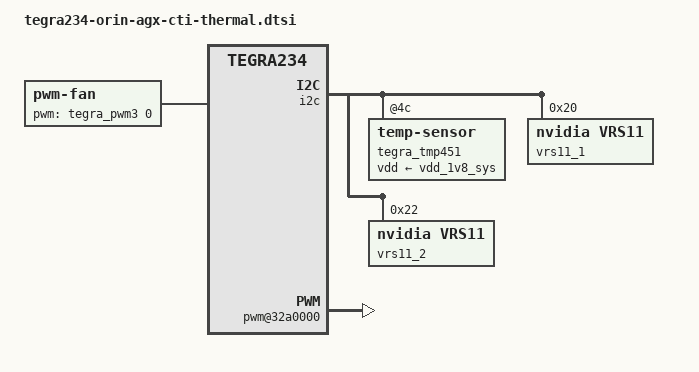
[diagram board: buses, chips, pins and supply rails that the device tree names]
/*
 * Copyright (c) 2022, Connect Tech Inc.  All rights reserved.
 *
 * This program is free software; you can redistribute it and/or modify it
 * under the terms and conditions of the GNU General Public License,
 * version 2, as published by the Free Software Foundation.
 *
 * This program is distributed in the hope it will be useful, but WITHOUT
 * ANY WARRANTY; without even the implied warranty of MERCHANTABILITY or
 * FITNESS FOR A PARTICULAR PURPOSE.  See the GNU General Public License for
 * more details.
 *
 * You should have received a copy of the GNU General Public License
 * along with this program.  If not, see <http://www.gnu.org/licenses/>.
 */


#include <dt-bindings/gpio/tegra234-gpio.h>
#include <dt-bindings/pwm/pwm.h>

#include <t234-common-cvm/tegra234-thermal.dtsi>
#include <t234-common-cvm/tegra234-thermal-cooling.dtsi>
#include <t234-common-cvm/tegra234-thermal-userspace-alert.dtsi>

/ {

    bpmp {
        i2c {
            tegra_tmp451: temp-sensor@4c {
                vdd-supply = <&vdd_1v8_sys>;

                ext {
                    shutdown-limit = <107>;
                };
            };
            vrs11_1@20 {
				compatible = "nvidia,vrs11";
				reg = <0x20>;
				rail-name-loopA = "GPU";
				rail-name-loopB = "CPU";
				status = "okay";
			};

			vrs11_2@22 {
				compatible = "nvidia,vrs11";
				reg = <0x22>;
				rail-name-loopA = "SOC";
				rail-name-loopB = "CV";
				status = "okay";
			};
        };
    };

    //FAN PWM
    pwm@32a0000 {
        status = "okay";
    };

    pwm_fan_shared_data: pfsd {
        num_resources = <0>;
        secret = <47>;
        active_steps = <10>;
        active_rpm = <0 1000 2000 3000 4000 5000 6000 7000 10000 11000>;
        rpm_diff_tolerance = <2>;
        active_rru = <40 2 1 1 1 1 1 1 1 1>;
        active_rrd = <40 2 1 1 1 1 1 1 1 1>;
        state_cap_lookup = <2 2 2 2 3 3 3 4 4 4>;
        pwm_period = <45334>;
        pwm_id = <3>;
        pwm_polarity = <PWM_POLARITY_INVERTED>;
        suspend_state = <1>;
        step_time = <100>; /* mesecs */
        state_cap = <7>;
        active_pwm_max = <256>;
        tach_period = <1000>;
        pwm_gpio = <&tegra_main_gpio TEGRA234_MAIN_GPIO(Q, 2) GPIO_ACTIVE_LOW>;
    };

    pwm-fan {
        compatible = "pwm-fan";
        status = "okay";
        #pwm-cells = <1>;
        pwms = <&tegra_pwm3 0 45334>;
        shared_data = <&pwm_fan_shared_data>;
        profiles {
            default = "quiet";
            quiet {
                state_cap = <4>;
#if TEGRA_PWM_FAN_DT_VERSION == DT_VERSION_2
                cooling-levels = <255 178 135 95 0 0 0 0 0 0>;
#else
                active_pwm = <0 77 120 160 255 255 255 255 255 255>;
#endif
            };
            cool {
                state_cap = <4>;
#if TEGRA_PWM_FAN_DT_VERSION == DT_VERSION_2
                cooling-levels = <255 178 135 95 0 0 0 0 0 0>;
#else
                active_pwm = <0 77 120 160 255 255 255 255 255 255>;
#endif
            };
        };
    };


    tachometer@39c0000 {
        status = "okay";
        upper-threshold = <0xfffff>;
        lower-threshold = <0x0>;
    };

	thermal-zones {
        CPU-therm {
            cooling-maps {
                map0 {
                    cooling-device = <&cl0_0 THERMAL_NO_LIMIT THERMAL_NO_LIMIT>,
                             <&cl1_0 THERMAL_NO_LIMIT THERMAL_NO_LIMIT>,
                             <&tegra_ga10b THERMAL_NO_LIMIT THERMAL_NO_LIMIT>;
                };
            };
        };
        GPU-therm {
            cooling-maps {
                map0 {
                    cooling-device = <&cl0_0 THERMAL_NO_LIMIT THERMAL_NO_LIMIT>,
                             <&cl1_0 THERMAL_NO_LIMIT THERMAL_NO_LIMIT>,
                             <&tegra_ga10b THERMAL_NO_LIMIT THERMAL_NO_LIMIT>;
                };
            };
        };
        CV0-therm {
            cooling-maps {
                map0 {
                    cooling-device = <&cl0_0 THERMAL_NO_LIMIT THERMAL_NO_LIMIT>,
                             <&cl1_0 THERMAL_NO_LIMIT THERMAL_NO_LIMIT>,
                             <&tegra_ga10b THERMAL_NO_LIMIT THERMAL_NO_LIMIT>;
                };
            };
        };
        CV1-therm {
            cooling-maps {
                map0 {
                    cooling-device = <&cl0_0 THERMAL_NO_LIMIT THERMAL_NO_LIMIT>,
                             <&cl1_0 THERMAL_NO_LIMIT THERMAL_NO_LIMIT>,
                             <&tegra_ga10b THERMAL_NO_LIMIT THERMAL_NO_LIMIT>;
                };
            };
        };
		CV2-therm {
            cooling-maps {
                map0 {
                    cooling-device = <&cl0_0 THERMAL_NO_LIMIT THERMAL_NO_LIMIT>,
                             <&cl1_0 THERMAL_NO_LIMIT THERMAL_NO_LIMIT>,
                             <&tegra_ga10b THERMAL_NO_LIMIT THERMAL_NO_LIMIT>;
                };
            };
        };
        SOC0-therm {
            cooling-maps {
                map0 {
                    cooling-device = <&cl0_0 THERMAL_NO_LIMIT THERMAL_NO_LIMIT>,
                             <&cl1_0 THERMAL_NO_LIMIT THERMAL_NO_LIMIT>,
                             <&tegra_ga10b THERMAL_NO_LIMIT THERMAL_NO_LIMIT>;
                };
            };
        };
        SOC1-therm {
            cooling-maps {
                map0 {
                    cooling-device = <&cl0_0 THERMAL_NO_LIMIT THERMAL_NO_LIMIT>,
                             <&cl1_0 THERMAL_NO_LIMIT THERMAL_NO_LIMIT>,
                             <&tegra_ga10b THERMAL_NO_LIMIT THERMAL_NO_LIMIT>;
                };
            };
        };
        SOC2-therm {
            cooling-maps {
                map0 {
                    cooling-device = <&cl0_0 THERMAL_NO_LIMIT THERMAL_NO_LIMIT>,
                             <&cl1_0 THERMAL_NO_LIMIT THERMAL_NO_LIMIT>,
                             <&tegra_ga10b THERMAL_NO_LIMIT THERMAL_NO_LIMIT>;
                };
            };
        };
    };

};
